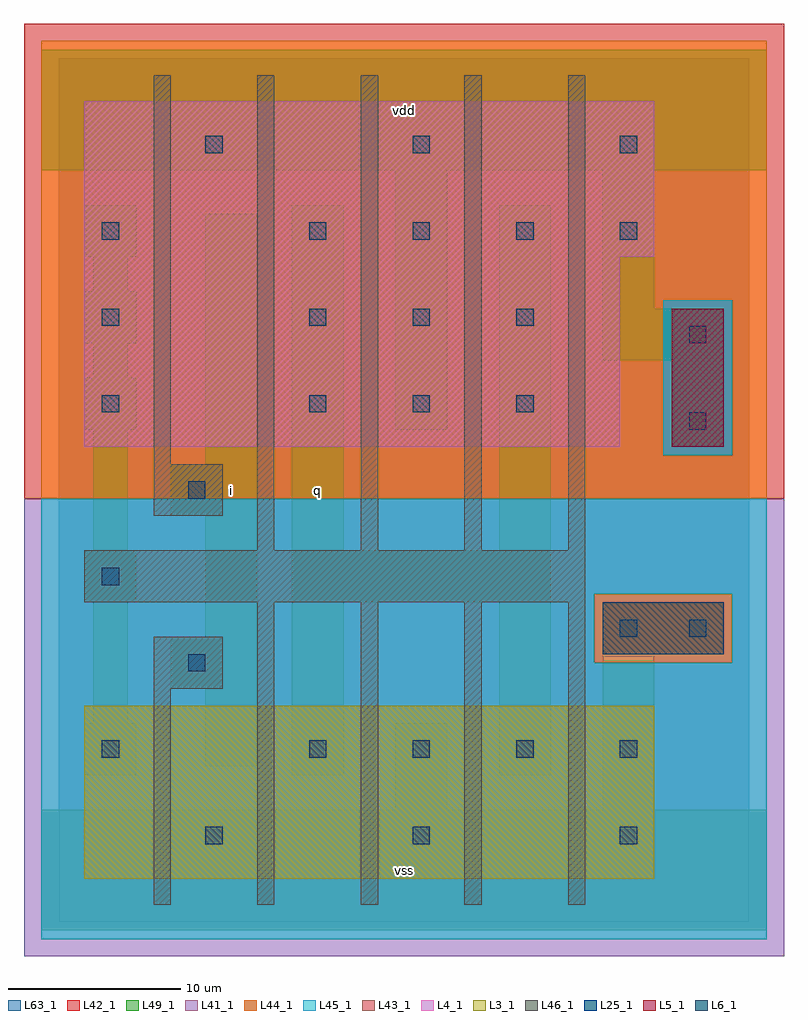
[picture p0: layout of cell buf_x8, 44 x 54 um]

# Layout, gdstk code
import gdstk
lib = gdstk.Library(unit=1e-6, precision=1e-09)
def R(c, l, rs):  # rectangles x0, y0, x1, y1
    for r in rs: c.add(gdstk.rectangle(r[:2], r[2:], *l))
def A(c, l, x, y, w, h, nx, ny, dx, dy):  # array of equal rectangles
    R(c, l, [(x+i*dx, y+j*dy, x+i*dx+w, y+j*dy+h) for i in range(nx) for j in range(ny)])
L3_1 = (3, 1)
L4_1 = (4, 1)
L5_1 = (5, 1)
L6_1 = (6, 1)
L25_1 = (25, 1)
L41_1 = (41, 1)
L42_1 = (42, 1)
L43_1 = (43, 1)
L44_1 = (44, 1)
L45_1 = (45, 1)
L46_1 = (46, 1)
L49_1 = (49, 1)
L63_1 = (63, 1)

buf_x8 = lib.new_cell('buf_x8')
R(buf_x8, L3_1, [(1.5,2.5,34.5,12.5)])
R(buf_x8, L4_1, [(1.5,27.5,32.5,38.5), (1.5,38.5,34.5,47.5)])
R(buf_x8, L5_1, [(35.5,27.5,38.5,35.5)])
R(buf_x8, L6_1, [(31.5,15.5,38.5,18.5)])
A(buf_x8, L25_1, 8.5, 4.5, 1, 1, 3, 2, 12, 40)
A(buf_x8, L25_1, 2.5, 9.5, 1, 1, 1, 3, 0, 10)
A(buf_x8, L25_1, 14.5, 9.5, 1, 1, 4, 2, 6, 30)
A(buf_x8, L25_1, 14.5, 29.5, 1, 1, 3, 2, 6, 5)
R(buf_x8, L25_1, [(7.5,14.5,8.5,15.5), (32.5,16.5,33.5,17.5), (36.5,16.5,37.5,17.5), (7.5,24.5,8.5,25.5), (36.5,28.5,37.5,29.5), (36.5,33.5,37.5,34.5), (2.5,34.5,3.5,35.5), (2.5,39.5,3.5,40.5)])
R(buf_x8, L41_1, [(-2,-2,42,24.5)])
R(buf_x8, L42_1, [(-2,24.5,42,52)])
R(buf_x8, L43_1, [(1.5,2.5,34.5,12.5), (31.5,15.5,38.5,18.5), (1.5,27.5,32.5,38.5), (35.5,27.5,38.5,35.5), (1.5,38.5,34.5,47.5)])
R(buf_x8, L44_1, [(31,15,39,19), (-1,24.5,41,27), (-1,27,35,36), (39,27,41,36), (-1,36,41,51)])
R(buf_x8, L45_1, [(-1,-1,41,15), (-1,15,31,19), (39,15,41,19), (-1,19,41,24.5), (35,27,39,36)])
A(buf_x8, L46_1, 11.5, 1, 1, 17.5, 4, 1, 6, 0)
A(buf_x8, L46_1, 11.5, 21.5, 1, 27.5, 4, 1, 6, 0)
R(buf_x8, L46_1, [(5.5,1,6.5,13.5), (5.5,13.5,9.5,16.5), (1.5,18.5,30.5,21.5), (5.5,23.5,9.5,26.5), (5.5,26.5,6.5,49)])
A(buf_x8, L49_1, 1.5, 8.5, 3, 3, 1, 3, 0, 10)
R(buf_x8, L49_1, [(-1,-0.5,41,6.5), (19.5,6.5,22.5,11.5), (31.5,6.5,34.5,15.5), (13.5,8.5,16.5,18.5), (25.5,8.5,28.5,18.5), (8.5,9,11.5,13.5), (2,11.5,4,18.5), (6.5,13.5,11.5,16.5), (31.5,15.5,38.5,18.5), (8.5,16.5,11.5,23.5), (13.5,18.5,28.5,21.5), (2,21.5,4,28.5), (13.5,21.5,16.5,41.5), (25.5,21.5,28.5,41.5), (6.5,23.5,11.5,26.5), (8.5,26.5,11.5,41), (35.5,27.5,38.5,32.5), (19.5,28.5,22.5,43.5), (2,31.5,4,33.5), (31.5,32.5,38.5,35.5), (1.5,33.5,4.5,36.5), (31.5,35.5,34.5,43.5), (2,36.5,4,38.5), (1.5,38.5,4.5,41.5), (-1,43.5,41,50.5)])
R(buf_x8, L63_1, [(0,0,40,50)])
buf_x8.add(gdstk.Label('q', (15,25), layer=49, texttype=1))
buf_x8.add(gdstk.Label('q', (15,25), layer=49, texttype=1))
buf_x8.add(gdstk.Label('i', (10,25), layer=49, texttype=1))
buf_x8.add(gdstk.Label('i', (10,25), layer=49, texttype=1))
buf_x8.add(gdstk.Label('vss', (20,3), layer=49, texttype=1))
buf_x8.add(gdstk.Label('vss', (20,3), layer=49, texttype=1))
buf_x8.add(gdstk.Label('vdd', (20,47), layer=49, texttype=1))
buf_x8.add(gdstk.Label('vdd', (20,47), layer=49, texttype=1))

lib.write_gds('buf_x8.gds')
